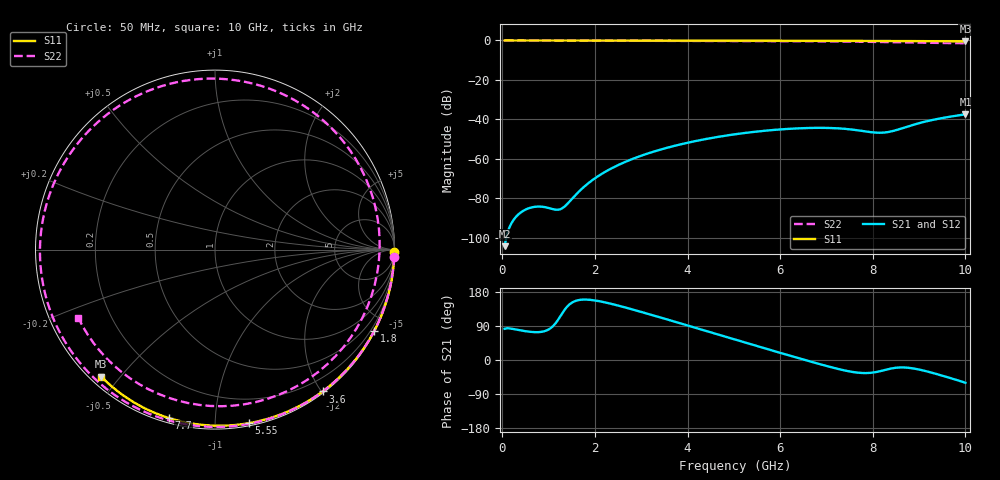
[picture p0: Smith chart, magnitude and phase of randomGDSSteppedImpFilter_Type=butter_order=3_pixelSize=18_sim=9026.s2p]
! freq	dB(S11)	phase(S11)	dB(S12)	phase(S12)
!  dB(S21)	phase(S21)	dB(S22)	phase(S22)
!S-par simulation data
#  GHz  S  DB  R 50
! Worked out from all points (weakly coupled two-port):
!   200 points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, 50 MHz to 10 GHz, reference 50 ohm
!   highest |S21| = -37.42 dB at 10 GHz (marker M1); lowest = -104.2 dB at 50 MHz (marker M2)
!   lowest |S11| = -0.4 dB at 10 GHz (marker M3), VSWR 39.00, Z = 1.54 - j22.3 ohm
!   |S11| at or under -10 dB: nowhere
!   |S22| runs from -1.4 to 0.0 dB; largest |S21 - S12| = 0
!   S11 on the Smith chart (normalised r, x): 50 MHz: open; 1.8 GHz: 0.04, -4.16; 3.6 GHz: 0.02, -2.01; 5.55 GHz: 0.02, -1.21; 7.7 GHz: 0.02, -0.76; 10 GHz: 0.03, -0.45
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0.05  -0.01 -0.8  -104.15 82.3  -104.15 82.3  -0.00 -2.3
0.7  -0.01 -10.6  -84.24 73.5  -84.24 73.5  -0.04 -32.5
1.1  -0.02 -16.6  -85.44 90.0  -85.44 90.0  -0.06 -50.5
1.5  -0.03 -22.6  -80.32 151.1  -80.32 151.1  -0.08 -67.8
1.75  -0.03 -26.3  -74.41 159.4  -74.41 159.4  -0.09 -78.2
1.8  -0.03 -27.0  -73.39 159.5  -73.39 159.5  -0.10 -80.2
2.45  -0.05 -36.5  -63.68 145.3  -63.68 145.3  -0.12 -105.7
3.4  -0.07 -50.0  -55.36 112.7  -55.36 112.7  -0.16 -140.2
3.6  -0.07 -52.8  -54.07 105.6  -54.07 105.6  -0.17 -147.2
4.35  -0.09 -63.1  -50.11 78.5  -50.11 78.5  -0.21 -173.2
5.05  -0.11 -72.4  -47.42 53.1  -47.42 53.1  -0.25 161.7
5.55  -0.13 -78.9  -46.00 35.0  -46.00 35.0  -0.29 142.6
6.2  -0.16 -87.1  -44.74 11.8  -44.74 11.8  -0.35 115.0
6.7  -0.18 -93.3  -44.28 -5.6  -44.28 -5.6  -0.42 90.5
7.2  -0.21 -99.4  -44.43 -22.1  -44.43 -22.1  -0.50 62.2
7.7  -0.24 -105.4  -45.56 -33.7  -45.56 -33.7  -0.62 29.2
8.05  -0.26 -109.5  -46.64 -32.3  -46.64 -32.3  -0.74 3.2
8.35  -0.29 -113.0  -46.30 -23.7  -46.30 -23.7  -0.85 -20.7
8.8  -0.32 -118.2  -43.24 -21.0  -43.24 -21.0  -1.03 -58.2
9.15  -0.36 -122.2  -40.99 -29.5  -40.99 -29.5  -1.17 -87.5
9.55  -0.40 -126.7  -39.07 -43.1  -39.07 -43.1  -1.31 -119.7
10  -0.45 -131.8  -37.42 -60.0  -37.42 -60.0  -1.40 -153.5
